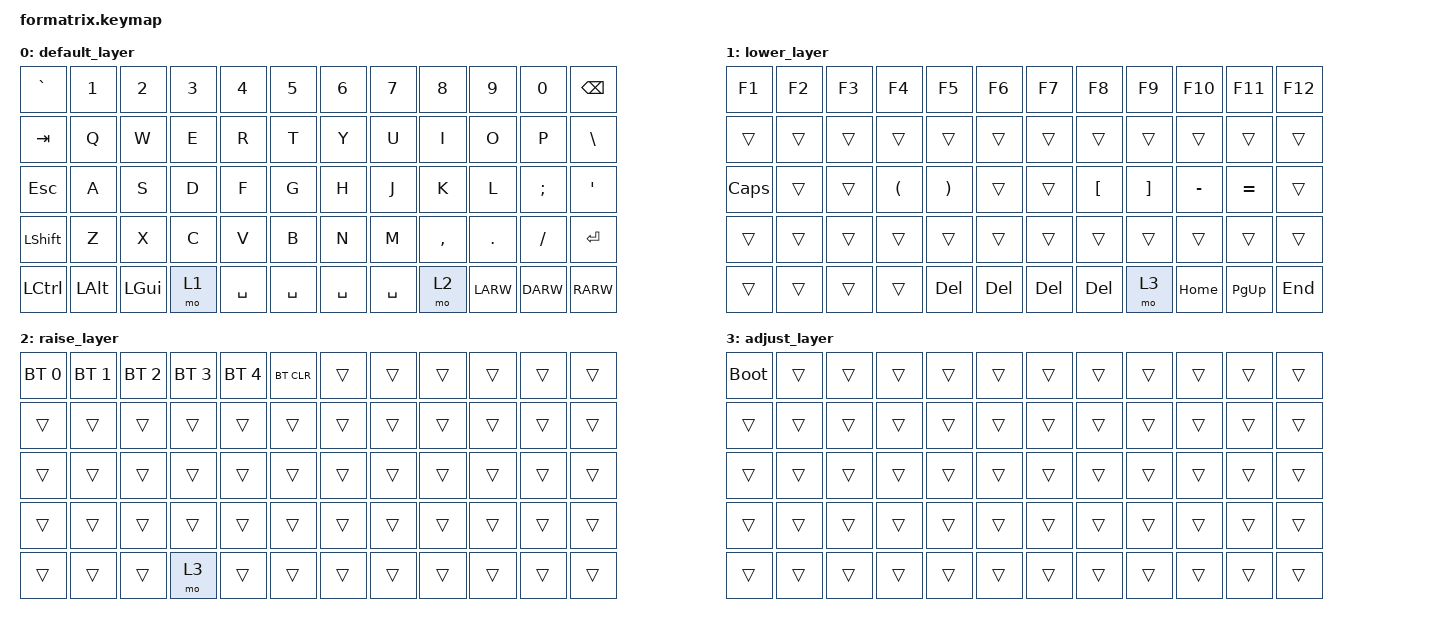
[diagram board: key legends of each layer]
/*
 * FORM.MATRIX - Custom Split Keyboard
 * Company: FORM LABS
 * Controller: Pro Micro NRF52840 (nice!nano V2.0)
 * Bluetooth Name: FORM.MATRIX
 */

#include <behaviors.dtsi>
#include <dt-bindings/zmk/keys.h>
#include <dt-bindings/zmk/bt.h>

/ {
    keymap {
        compatible = "zmk,keymap";

        default_layer {
            bindings = <
   &kp GRAVE  &kp N1     &kp N2     &kp N3     &kp N4     &kp N5           &kp N6     &kp N7     &kp N8     &kp N9     &kp N0     &kp BSPC
   &kp TAB    &kp Q      &kp W      &kp E      &kp R      &kp T            &kp Y      &kp U      &kp I      &kp O      &kp P      &kp BSLH
   &kp ESC    &kp A      &kp S      &kp D      &kp F      &kp G            &kp H      &kp J      &kp K      &kp L      &kp SEMI   &kp APOS
   &kp LSHFT  &kp Z      &kp X      &kp C      &kp V      &kp B            &kp N      &kp M      &kp COMMA  &kp DOT    &kp FSLH   &kp RET
   &kp LCTRL  &kp LALT   &kp LGUI   &mo 1      &kp SPACE  &kp SPACE        &kp SPACE  &kp SPACE  &mo 2      &kp LARW   &kp DARW   &kp RARW
            >;
        };

        lower_layer {
            bindings = <
   &kp F1     &kp F2     &kp F3     &kp F4     &kp F5     &kp F6          &kp F7     &kp F8     &kp F9     &kp F10    &kp F11    &kp F12
   &trans     &trans     &trans     &trans     &trans     &trans          &trans     &trans     &trans     &trans     &trans     &trans
   &kp CAPS   &trans     &trans     &kp LPAR   &kp RPAR   &trans          &trans     &kp LBKT   &kp RBKT   &kp MINUS  &kp EQUAL  &trans
   &trans     &trans     &trans     &trans     &trans     &trans          &trans     &trans     &trans     &trans     &trans     &trans
   &trans     &trans     &trans     &trans     &kp DEL    &kp DEL         &kp DEL    &kp DEL    &mo 3      &kp HOME   &kp PG_UP  &kp END
            >;
        };

        raise_layer {
            bindings = <
   &bt BT_SEL 0  &bt BT_SEL 1  &bt BT_SEL 2  &bt BT_SEL 3  &bt BT_SEL 4  &bt BT_CLR      &trans     &trans     &trans     &trans     &trans     &trans
   &trans        &trans        &trans        &trans        &trans        &trans           &trans     &trans     &trans     &trans     &trans     &trans
   &trans        &trans        &trans        &trans        &trans        &trans           &trans     &trans     &trans     &trans     &trans     &trans
   &trans        &trans        &trans        &trans        &trans        &trans           &trans     &trans     &trans     &trans     &trans     &trans
   &trans        &trans        &trans        &mo 3         &trans       &trans            &trans     &trans     &trans     &trans     &trans     &trans
            >;
        };

        adjust_layer {
            bindings = <
   &bootloader   &trans     &trans     &trans     &trans     &trans          &trans     &trans     &trans     &trans     &trans     &trans
   &trans        &trans     &trans     &trans     &trans     &trans          &trans     &trans     &trans     &trans     &trans     &trans
   &trans        &trans     &trans     &trans     &trans     &trans          &trans     &trans     &trans     &trans     &trans     &trans
   &trans        &trans     &trans     &trans     &trans     &trans          &trans     &trans     &trans     &trans     &trans     &trans
   &trans        &trans     &trans     &trans     &trans     &trans          &trans     &trans     &trans     &trans     &trans     &trans
            >;
        };
    };
};
